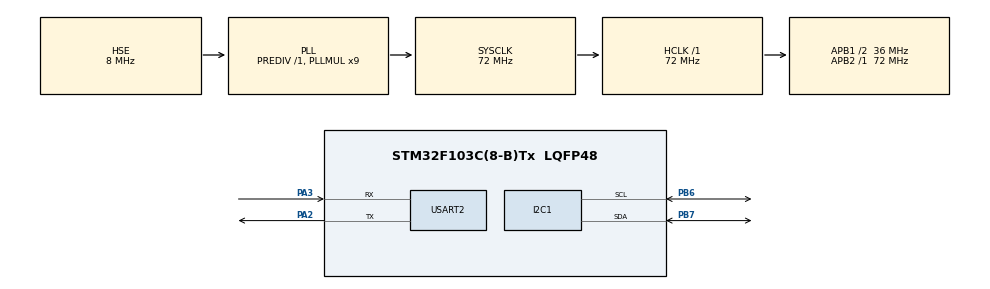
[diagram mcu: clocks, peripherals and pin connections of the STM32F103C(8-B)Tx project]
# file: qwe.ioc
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Mcu.Family=STM32F1
Mcu.Name=STM32F103C(8-B)Tx
Mcu.Package=LQFP48
NVIC.PriorityGroup=NVIC_PRIORITYGROUP_4
NVIC.USART2_IRQn=true\:0\:0\:false\:false\:true\:true\:true\:true
PA13.Mode=Serial_Wire
PA13.Signal=SYS_JTMS-SWDIO
PA14.Mode=Serial_Wire
PA14.Signal=SYS_JTCK-SWCLK
PA2.Mode=Asynchronous
PA2.Signal=USART2_TX
PA3.Mode=Asynchronous
PA3.Signal=USART2_RX
PB6.Mode=I2C
PB6.Signal=I2C1_SCL
PB7.Mode=I2C
PB7.Signal=I2C1_SDA
PD0-OSC_IN.Mode=HSE-External-Oscillator
PD0-OSC_IN.Signal=RCC_OSC_IN
PD1-OSC_OUT.Mode=HSE-External-Oscillator
PD1-OSC_OUT.Signal=RCC_OSC_OUT
ProjectManager.HeapSize=0x200
ProjectManager.StackSize=0x400
ProjectManager.TargetToolchain=MDK-ARM V5.32
RCC.AHBFreq_Value=72000000
RCC.APB1CLKDivider=RCC_HCLK_DIV2
RCC.APB1Freq_Value=36000000
RCC.APB1TimFreq_Value=72000000
RCC.APB2Freq_Value=72000000
RCC.APB2TimFreq_Value=72000000
RCC.HCLKFreq_Value=72000000
RCC.PLLMUL=RCC_PLL_MUL9
RCC.PLLSourceVirtual=RCC_PLLSOURCE_HSE
RCC.SYSCLKFreq_VALUE=72000000
RCC.SYSCLKSource=RCC_SYSCLKSOURCE_PLLCLK
RCC.USBFreq_Value=72000000
USART2.VirtualMode=VM_ASYNC
board=custom

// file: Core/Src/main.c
/* USER CODE BEGIN Header */
/**
  ******************************************************************************
  * @file           : main.c
  * @brief          : Main program body
  ******************************************************************************
  */
/* USER CODE END Header */

#include "main.h"
#include "i2c.h"
#include "usart.h"
#include "gpio.h"
#include "oled.h"

#include <stdio.h>
#include <string.h>

/* USER CODE BEGIN Includes */
#include "radar_parse.h"
/* USER CODE END Includes */

volatile uint8_t  g_heartRate    = 0;
volatile uint8_t  g_breathRate   = 0;
volatile uint8_t  g_bodyMove     = 0;
volatile uint8_t  g_humanExist   = 0;
volatile uint8_t  g_hr_updated   = 0;
volatile uint8_t  g_br_updated   = 0;

uint8_t g_rx_byte;

static uint32_t s_last_oled_tick = 0;
#define OLED_REFRESH_MS  500

void SystemClock_Config(void);
static void OLED_ShowUI(void);

/* USER CODE BEGIN 0 */

void HAL_UART_RxCpltCallback(UART_HandleTypeDef *huart)
{
    if (huart->Instance == USART2)
    {
        RadarRingBuf_Put(g_rx_byte);
        HAL_UART_Receive_IT(&huart2, &g_rx_byte, 1);
    }
}

/* USER CODE END 0 */

int main(void)
{

  HAL_Init();

  SystemClock_Config();

  /* Initialize all configured peripherals */
  MX_GPIO_Init();
  MX_I2C1_Init();
  MX_USART2_UART_Init();

  /* USER CODE BEGIN 2 */
  OLED_Init();
  OLED_Clear();
  OLED_ShowUI();
  OLED_Refresh();

  RadarParser_Init();

  HAL_UART_Receive_IT(&huart2, &g_rx_byte, 1);
  /* USER CODE END 2 */

  /* Infinite loop */
  /* USER CODE BEGIN WHILE */
  while (1)
  {
    /* 1. ??????????????? */
    RadarParser_FeedFromRingBuf();

    /* 2. ???? OLED */
    if (HAL_GetTick() - s_last_oled_tick >= OLED_REFRESH_MS)
    {
      s_last_oled_tick = HAL_GetTick();

      OLED_Clear();
      OLED_ShowUI();
      OLED_Refresh();
    }
    /* USER CODE END WHILE */

  }
}

/**
  * @brief OLED ????(??+??)
  */
static void OLED_ShowUI(void)
{
  /* ---- ?? ---- */
   OLED_ShowString(0, 0, (uint8_t *)"Health Monitor", 16);

    /* ?? */
    OLED_ShowString(0, 20, (uint8_t *)"HR :", 16);
    if (g_hr_updated)   // ? ???
    {
        OLED_ShowNum(40, 20, g_heartRate, 3, 16);
        OLED_ShowString(72, 20, (uint8_t *)"bpm", 16);
    }
    else
    {
        OLED_ShowString(40, 20, (uint8_t *)"---", 16);
    }

    /* ?? */
    OLED_ShowString(0, 40, (uint8_t *)"BR :", 16);
    if (g_br_updated)   // ? ???
    {
        OLED_ShowNum(40, 40, g_breathRate, 3, 16);
        OLED_ShowString(72, 40, (uint8_t *)"r/m", 16);
    }
    else
    {
        OLED_ShowString(40, 40, (uint8_t *)"---", 16);
    }
}

void SystemClock_Config(void)
{
  RCC_OscInitTypeDef RCC_OscInitStruct = {0};
  RCC_ClkInitTypeDef RCC_ClkInitStruct = {0};

  RCC_OscInitStruct.OscillatorType = RCC_OSCILLATORTYPE_HSE;
  RCC_OscInitStruct.HSEState = RCC_HSE_ON;
  RCC_OscInitStruct.HSEPredivValue = RCC_HSE_PREDIV_DIV1;
  RCC_OscInitStruct.HSIState = RCC_HSI_ON;
  RCC_OscInitStruct.PLL.PLLState = RCC_PLL_ON;
  RCC_OscInitStruct.PLL.PLLSource = RCC_PLLSOURCE_HSE;
  RCC_OscInitStruct.PLL.PLLMUL = RCC_PLL_MUL9;
  if (HAL_RCC_OscConfig(&RCC_OscInitStruct) != HAL_OK)
  {
    Error_Handler();
  }

  RCC_ClkInitStruct.ClockType = RCC_CLOCKTYPE_HCLK | RCC_CLOCKTYPE_SYSCLK

                              | RCC_CLOCKTYPE_PCLK1 | RCC_CLOCKTYPE_PCLK2;
  RCC_ClkInitStruct.SYSCLKSource = RCC_SYSCLKSOURCE_PLLCLK;
  RCC_ClkInitStruct.AHBCLKDivider = RCC_SYSCLK_DIV1;
  RCC_ClkInitStruct.APB1CLKDivider = RCC_HCLK_DIV2;
  RCC_ClkInitStruct.APB2CLKDivider = RCC_HCLK_DIV1;
  if (HAL_RCC_ClockConfig(&RCC_ClkInitStruct, FLASH_LATENCY_2) != HAL_OK)
  {
    Error_Handler();
  }
}

void Error_Handler(void)
{
  __disable_irq();
  while (1)
  {
  }
}
